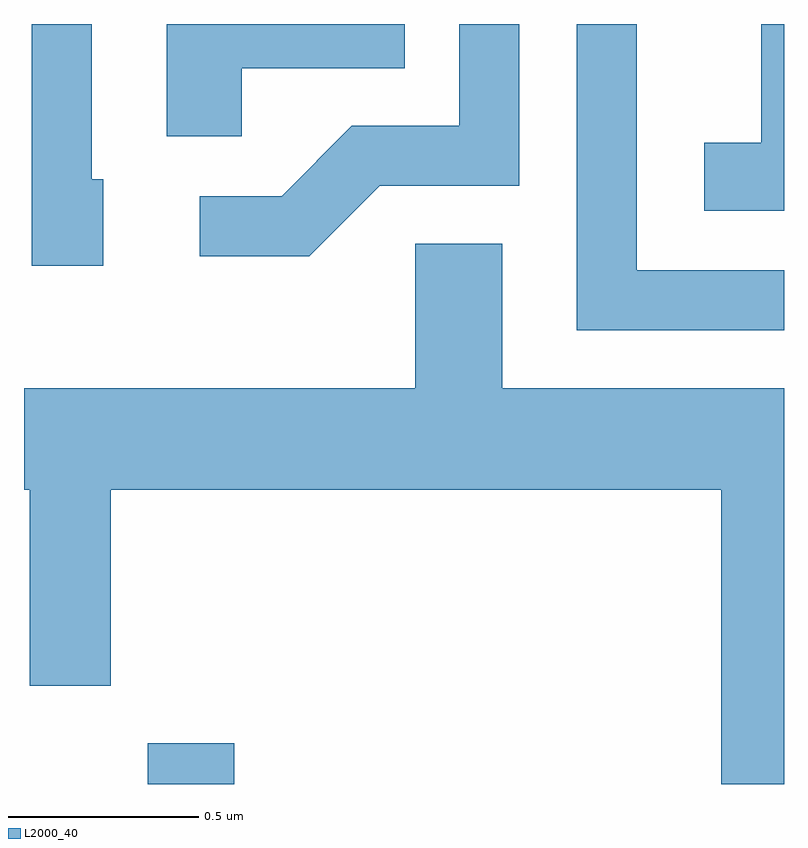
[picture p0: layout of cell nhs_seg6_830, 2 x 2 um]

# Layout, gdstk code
import gdstk
lib = gdstk.Library(unit=1e-6, precision=1e-09)
def R(c, l, rs):  # rectangles x0, y0, x1, y1
    for r in rs: c.add(gdstk.rectangle(r[:2], r[2:], *l))
def P(c, l, *ps):  # polygons
    for p in ps: c.add(gdstk.Polygon(p, *l))
L2000_40 = (2000, 40)

nhs_seg6_830 = lib.new_cell('nhs_seg6_830')
R(nhs_seg6_830, L2000_40, [(191.936,1538.162,192.164,1538.269)])
P(nhs_seg6_830, L2000_40, [(193.611,1540.162),(193.551,1540.162),(193.551,1539.849),(193.401,1539.849),(193.401,1539.671),(193.611,1539.671)],
  [(191.819,1539.754),(191.789,1539.754),(191.789,1540.162),(191.631,1540.162),(191.631,1539.526),(191.819,1539.526)],
  [(193.611,1539.514),(193.224,1539.514),(193.224,1540.162),(193.066,1540.162),(193.066,1539.356),(193.611,1539.356)],
  [(192.547,1539.736),(192.914,1539.736),(192.914,1540.162),(192.756,1540.162),(192.756,1539.894),(192.474,1539.894),(192.289,1539.709),(192.073,1539.709),(192.073,1539.551),(192.362,1539.551)],
  [(192.184,1540.046),(192.613,1540.046),(192.613,1540.162),(191.986,1540.162),(191.986,1539.866),(192.184,1539.866)],
  [(193.611,1539.204),(192.869,1539.204),(192.869,1539.584),(192.641,1539.584),(192.641,1539.204),(191.611,1539.204),(191.611,1538.936),(191.626,1538.936),(191.626,1538.421),(191.839,1538.421),(191.839,1538.936),(193.446,1538.936),(193.446,1538.162),(193.611,1538.162)])

lib.write_gds('nhs_seg6_830.gds')
